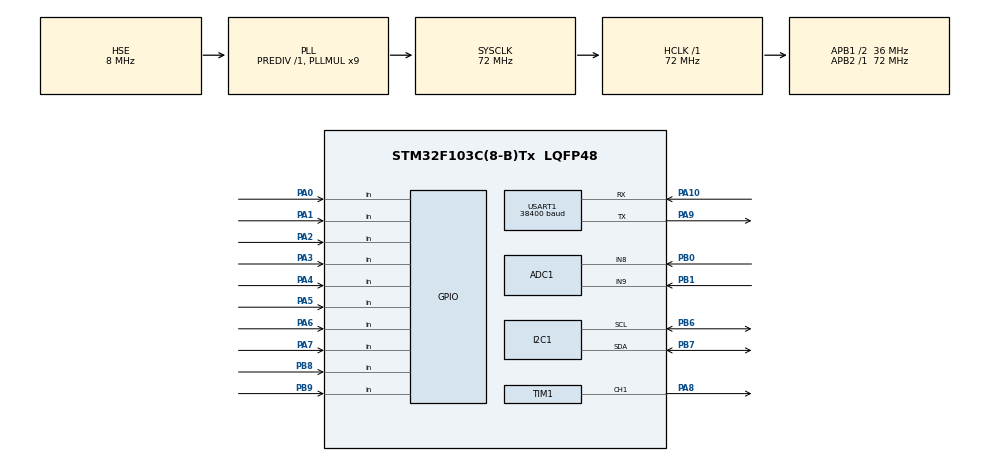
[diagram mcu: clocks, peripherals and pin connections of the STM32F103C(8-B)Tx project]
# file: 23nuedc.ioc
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ADC1.Channel-0\#ChannelRegularConversion=ADC_CHANNEL_8
ADC1.Channel-1\#ChannelRegularConversion=ADC_CHANNEL_9
ADC1.ContinuousConvMode=ENABLE
ADC1.NbrOfConversion=2
ADC1.NbrOfConversionFlag=1
ADC1.Rank-0\#ChannelRegularConversion=1
ADC1.Rank-1\#ChannelRegularConversion=2
ADC1.SamplingTime-0\#ChannelRegularConversion=ADC_SAMPLETIME_71CYCLES_5
ADC1.SamplingTime-1\#ChannelRegularConversion=ADC_SAMPLETIME_71CYCLES_5
ADC1.master=1
Dma.ADC1.0.Direction=DMA_PERIPH_TO_MEMORY
Dma.ADC1.0.Instance=DMA1_Channel1
Dma.ADC1.0.MemDataAlignment=DMA_MDATAALIGN_HALFWORD
Dma.ADC1.0.MemInc=DMA_MINC_ENABLE
Dma.ADC1.0.Mode=DMA_CIRCULAR
Dma.ADC1.0.PeriphDataAlignment=DMA_PDATAALIGN_HALFWORD
Dma.ADC1.0.PeriphInc=DMA_PINC_DISABLE
Dma.ADC1.0.Priority=DMA_PRIORITY_LOW
Dma.Request0=ADC1
Mcu.Family=STM32F1
Mcu.Name=STM32F103C(8-B)Tx
Mcu.Package=LQFP48
NVIC.DMA1_Channel1_IRQn=true\:0\:0\:false\:false\:true\:false\:true\:true
NVIC.PriorityGroup=NVIC_PRIORITYGROUP_4
NVIC.USART1_IRQn=true\:0\:0\:false\:false\:true\:true\:true\:true
PA0-WKUP.Signal=GPIO_Input
PA1.Signal=GPIO_Input
PA10.Mode=Asynchronous
PA10.Signal=USART1_RX
PA13.Mode=Serial_Wire
PA13.Signal=SYS_JTMS-SWDIO
PA14.Mode=Serial_Wire
PA14.Signal=SYS_JTCK-SWCLK
PA2.Signal=GPIO_Input
PA3.Signal=GPIO_Input
PA4.Signal=GPIO_Input
PA5.Signal=GPIO_Input
PA6.Signal=GPIO_Input
PA7.Signal=GPIO_Input
PA8.Signal=S_TIM1_CH1
PA9.Mode=Asynchronous
PA9.Signal=USART1_TX
PB0.Signal=ADCx_IN8
PB1.Signal=ADCx_IN9
PB6.Mode=I2C
PB6.Signal=I2C1_SCL
PB7.Mode=I2C
PB7.Signal=I2C1_SDA
PB8.Signal=GPIO_Input
PB9.Signal=GPIO_Input
PC14-OSC32_IN.Mode=LSE-External-Oscillator
PC14-OSC32_IN.Signal=RCC_OSC32_IN
PC15-OSC32_OUT.Mode=LSE-External-Oscillator
PC15-OSC32_OUT.Signal=RCC_OSC32_OUT
PD0-OSC_IN.Mode=HSE-External-Oscillator
PD0-OSC_IN.Signal=RCC_OSC_IN
PD1-OSC_OUT.Mode=HSE-External-Oscillator
PD1-OSC_OUT.Signal=RCC_OSC_OUT
ProjectManager.HeapSize=0x200
ProjectManager.StackSize=0x400
ProjectManager.TargetToolchain=MDK-ARM V5.32
RCC.ADCPresc=RCC_ADCPCLK2_DIV6
RCC.AHBFreq_Value=72000000
RCC.APB1CLKDivider=RCC_HCLK_DIV2
RCC.APB1Freq_Value=36000000
RCC.APB1TimFreq_Value=72000000
RCC.APB2Freq_Value=72000000
RCC.APB2TimFreq_Value=72000000
RCC.HCLKFreq_Value=72000000
RCC.PLLMUL=RCC_PLL_MUL9
RCC.PLLSourceVirtual=RCC_PLLSOURCE_HSE
RCC.SYSCLKFreq_VALUE=72000000
RCC.SYSCLKSource=RCC_SYSCLKSOURCE_PLLCLK
RCC.USBFreq_Value=72000000
SH.ADCx_IN8.0=ADC1_IN8,IN8
SH.ADCx_IN9.0=ADC1_IN9,IN9
SH.S_TIM1_CH1.0=TIM1_CH1,PWM Generation1 CH1
TIM1.Channel-PWM\ Generation1\ CH1=TIM_CHANNEL_1
TIM1.OCFastMode_PWM-PWM\ Generation1\ CH1=TIM_OCFAST_ENABLE
TIM1.OCMode_PWM-PWM\ Generation1\ CH1=TIM_OCMODE_PWM2
TIM1.Period=20-1
TIM1.Prescaler=18-1
TIM1.Pulse-PWM\ Generation1\ CH1=10
USART1.BaudRate=38400
USART1.VirtualMode=VM_ASYNC
VP_TIM1_VS_ClockSourceINT.Mode=Internal
board=custom

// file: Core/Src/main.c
/* USER CODE BEGIN Header */
/**
  ******************************************************************************
  * @file           : main.c
  * @brief          : Main program body
  ******************************************************************************
  * @attention
  *
  * Copyright (c) 2025 STMicroelectronics.
  * All rights reserved.
  *
  * This software is licensed under terms that can be found in the LICENSE file
  * in the root directory of this software component.
  * If no LICENSE file comes with this software, it is provided AS-IS.
  *
  ******************************************************************************
  */
/* USER CODE END Header */
#include "main.h"
#include "adc.h"
#include "dma.h"
#include "i2c.h"
#include "tim.h"
#include "usart.h"
#include "gpio.h"

/* USER CODE BEGIN Includes */
#include "oled.h"
#include "stdio.h" // 为了在send_length_x_as_binary_and_decimal()函数中调用sprintf()
#include "string.h" // 为了在串口发送时能使用strlen()
#include "math.h" // 为了使用fabsf()函数（求浮点数的绝对值）

/* USER CODE END Includes */

/* USER CODE BEGIN PD */

// 用于“对激励方波进行采样，然后只取高电平的部分（电压大于某个门限）做平均”
#define THRESHOLD_1 800 // 设v1高电平判定门限为 800（负载电阻较小，分压少，高电平在0.5V-2V之间，故阈值尽量压低）
#define THRESHOLD_2 300 // 设v2高电平判定门限为 300（负载电阻较小，分压少，高电平在0.5V-2V之间，故阈值尽量压低）
#define SAMPLE_BUFFER_SIZE 1000  // ADC对方波采样的缓冲区大小
// #define IO_DATA_SIZE 5000 // 接收来自FPGA的数据的缓冲区大小

/* USER CODE END PD */

/* USER CODE BEGIN PV */

// length_x：按下length按键后在IO口读出的数据。（是将PA0~PA7的电平状态合并为一个字节后的结果。是原始计数数据。）
// length_y：对length_x通过换算关系处理后所得的电缆长度。
uint8_t length_x = 0;
double length_y = 0.0;

// 按下load按键后在IO口读出的数据。供串口输出用。
uint8_t load_x = 0;

// avg_length_x：length_x（按下length按键后在IO口读出的数据）的平均值。
// avg_load_x：load_x（按下load按键后在IO口读出的数据）的平均值。
double avg_length_x = 0.0;
double avg_load_x = 0.0;

// length_x_buffer[10]：字符串形式的length_x，为了在oled屏幕上显示。
// length_y_buffer[10]：字符串形式的length_y，为了在oled屏幕上显示。
uint8_t length_x_buffer[10];
uint8_t length_y_buffer[10];

// pins[8]：用来存放8个IO电平状态（来自FPGA）的数组。
const uint16_t pins[8] =
{
    GPIO_PIN_0, GPIO_PIN_1, GPIO_PIN_2, GPIO_PIN_3,
    GPIO_PIN_4, GPIO_PIN_5, GPIO_PIN_6, GPIO_PIN_7
};

// 通过串联分压原理来计算待测负载
// GND---待测负载---B---50Ω---A---比较器---STM32
//                 ^         ^
//                 |         |
//                 v2        v1
uint16_t adc_values[2]; // 用于DMA接收ADC值，因为使用两个通道故数组大小为2

// 用于“对激励方波进行采样，然后只取高电平的部分（电压大于某个门限）做平均”
uint16_t adc_high_level_samples_1[SAMPLE_BUFFER_SIZE]; // 存储V1方波（A点，经过比较器后的激励信号）的高电平采样点
uint16_t adc_high_level_samples_2[SAMPLE_BUFFER_SIZE]; // 存储V2方波（B点，分压后）的高电平采样点
uint16_t high_sample_count_1 = 0; // V1高电平采样点计数
uint16_t high_sample_count_2 = 0; // V2高电平采样点计数
float high_level_avg_1 = 0.0f; // V1高电平采样点平均值
float high_level_avg_2 = 0.0f; // V2高电平采样点平均值

// 用于存储串口输出信息的字符串缓冲区数组
uint8_t message[50] = "";

// load：待测阻性负载的值
float load = 0.0;

/* USER CODE END PV */

void SystemClock_Config(void);
/* USER CODE BEGIN PFP */

/**
  * @brief  重写DMA传输完成中断回调函数，记录高电平方波值，记录高电平采样点数
  * @param  hadc：句柄指针，例如 &huart1
  * @retval 无
  */
void HAL_ADC_ConvCpltCallback(ADC_HandleTypeDef* hadc)
{
    // 处理 Channel 8（adc_values[0]）上的方波（A点，激励信号，V1）
    if (adc_values[0] > THRESHOLD_1)
    {
        if (high_sample_count_1 < SAMPLE_BUFFER_SIZE)
        {
            adc_high_level_samples_1[high_sample_count_1++] = adc_values[0];
        }
    }

        // 处理 Channel 9（adc_values[1]）上的方波（B点，分压后，V2）
    if (adc_values[1] > THRESHOLD_2)
    {
        if (high_sample_count_2 < SAMPLE_BUFFER_SIZE)
        {
            adc_high_level_samples_2[high_sample_count_2++] = adc_values[1];
        }
    }
}

/**
  * @brief  读取 PA0~PA7 的电平状态，合并为一个字节返回。
  * PA7 是最高有效位（MSB）,PA0 是最低有效位（LSB）。
  *
  * PA7 → bit7
  * PA6 → bit6
  * ...
  * PA0 → bit0
  *
  * 在 while 循环中调用length_x = read_8_io();
  * 则length_x即为来自FPGA的计数结果。
  * @retval uint8_t
  */
uint8_t read_8_io(void)
{
    uint8_t value = 0;
    for (int i = 0; i < 8; i++) {
        if (HAL_GPIO_ReadPin(GPIOA, pins[i]) == GPIO_PIN_SET) {
            value |= (1 << i);  // 对应位设为1
        }
    }
    return value;
}

/**
  * @brief  将给定的字节数据以二进制和十进制字符串形式通过串口发送出去
  *         该函数用于将 uint8_t 类型的 length_x 转换为直观的二进制表示和十进制数值，
  *         并通过指定的 UART 发送。
  * @param  huart：UART句柄指针，例如 &huart1
  * @param  u8data：要发送的 uint8_t 类型数据（0~255）
  * @retval 无
  */
void send_length_x_as_binary_and_decimal(UART_HandleTypeDef *huart, uint8_t u8data)
{
    uint8_t tx_buffer[30]; // 发送缓冲区大小
    int index = 0;

    // 添加二进制表示
    index += sprintf(tx_buffer + index, "Bin(2): ");
    for (int i = 7; i >= 0; i--) {
        if (u8data & (1 << i)) {
            tx_buffer[index++] = '1';
        } else {
            tx_buffer[index++] = '0';
        }
    }

    // 添加分隔符
    tx_buffer[index++] = '\r'; // 回车
    tx_buffer[index++] = '\n'; // 换行

    // 添加十进制表示
    index += sprintf(tx_buffer + index, "Dec(10): %d\r\n", u8data);

    // 每段数据发送完后空一行
    tx_buffer[index++] = '\n';

    // 发送数据
    HAL_UART_Transmit(huart, (uint8_t*)tx_buffer, index, HAL_MAX_DELAY);
}

/**
  * @brief  计算输入ADC的方波的高电平部分的平均值并写入用于串口发送的字符串
  *         如果采样到了有效的高电平（即：有超过阈值的采样点），则计算其平均值；
  *         否则输出“无高电平样本”的提示信息。
  * @param  adc_high_level_samples：指向ADC高电平样本数组的指针
  * @param  high_sample_count：高电平样本的数量
  * @param  message：用于存储输出信息的字符串缓冲区
  * @param  v_id：电压数组标识符，1 表示 adc_high_level_samples_1，
  *                              2 表示 adc_high_level_samples_2
  * @retval float类型的电压平均值
  */
float calculate_and_display_high_level_avg(uint16_t *adc_high_level_samples, uint16_t high_sample_count, uint8_t *message, int v_id)
{
    if (high_sample_count > 0)
    {
        float high_level_avg = 0.0f;
        for (uint16_t i = 0; i < high_sample_count; i++)
        {
            high_level_avg += adc_high_level_samples[i];
        }
        high_level_avg /= high_sample_count;

        // 根据 v_id 决定前缀名称
        const uint8_t *prefix = (v_id == 1) ? "V1 High Avg" : "V2 High Avg";

        // 格式化输出平均值和样本数量
        sprintf(message, "%s: %.2f (%lu samples)\n", prefix, high_level_avg, high_sample_count);
        return high_level_avg;
    }
    else
    {
        strcpy(message, "No high level samples detected.\n");
		return 0;
    }
}

/* USER CODE END PFP */

int main(void)
{

  /* MCU Configuration--------------------------------------------------------*/

  /* Reset of all peripherals, Initializes the Flash interface and the Systick. */
  HAL_Init();

  /* Configure the system clock */
  SystemClock_Config();

  /* Initialize all configured peripherals */
  MX_GPIO_Init();
  MX_DMA_Init();
  MX_I2C1_Init();
  MX_USART1_UART_Init();
  MX_TIM1_Init();
  MX_ADC1_Init();
  /* USER CODE BEGIN 2 */
  HAL_TIM_PWM_Start(&htim1,TIM_CHANNEL_1); // 开启PWM输出（1MHz，占空比50%）
  HAL_ADCEx_Calibration_Start(&hadc1); // 校准ADC

  HAL_ADC_Start_DMA(&hadc1,(uint32_t*)adc_values,sizeof(adc_values)/sizeof(uint16_t));
  // 触发ADC采样与转换，且用DMA搬运。搬运到的内存地址是adc_values数组名，
  // 搬运次数为sizeof(adc_values)/sizeof(uint16_t)=2次（因为是两个通道。也可以直接填2）。
  // 因配置了连续转换模式，只需要触发一次，故写在while(1)循环外。

  HAL_ADC_PollForConversion(&hadc1,HAL_MAX_DELAY); // 轮询检查转换是否完成，转换完成后再读取测量结果，以免读到默认值。

  OLED_Init();                           // OLED初始化
  OLED_Clear();                          // 清屏
  OLED_ShowString(0,0,"Waiting for detection",12, 0);    // 正相显示8X16字符串

//  OLED_ShowCHinese(0,4,0,1); // 反相显示汉字“独”
//  OLED_ShowCHinese(16,4,1,1);// 反相显示汉字“角”
//  OLED_ShowCHinese(32,4,2,1);// 反相显示汉字“兽”
//  OLED_ShowCHinese(0,6,0,0); // 正相显示汉字“独”
//  OLED_ShowCHinese(16,6,1,0);// 正相显示汉字“角”
//  OLED_ShowCHinese(32,6,2,0);// 正相显示汉字“兽”

//  OLED_ShowNum(48,4,6,1,16, 0);// 正相显示1位8X16数字“6”
//  OLED_ShowNum(48,7,77,2,12, 1);// 反相显示2位6X8数字“77”
//  OLED_DrawBMP(90,0,122, 4,BMP1,0);// 正相显示图片BMP1
//  OLED_DrawBMP(90,4,122, 8,BMP1,1);// 反相显示图片BMP1

//  OLED_HorizontalShift(0x26);// 全屏水平向右滚动播放

// 显示正负浮点数的代码
//  float num1=-231.24;
//  float num2=23.375;

// OLED_ShowString(0,0,"Show Decimal",12,0);
// OLED_Showdecimal(0,4,num1,3,2,12, 0);
// OLED_Showdecimal(0,6,num2,2,3,16, 1);

  /* USER CODE END 2 */

  /* Infinite loop */
  /* USER CODE BEGIN WHILE */
  while (1)
  {
    // 可能因为没延时所以加上这两句之后按下按键就会跑飞，暂不用
    // length_x = read_8_io();
    // send_length_x_as_binary_and_decimal(&huart1, length_x); // 调试中通过串口查看PA0~PA7每一位的具体情况

    /*-------------------------正式程序-------------------------*/

    /* 检查Length键是否被按下（ PA8 是否被拉低 ）*/
    if (HAL_GPIO_ReadPin(GPIOB, GPIO_PIN_8) == GPIO_PIN_RESET)
    {
        HAL_Delay(55); // 硬件消抖在电路扩展后失效了，采用软件消抖
        if (HAL_GPIO_ReadPin(GPIOB, GPIO_PIN_8) == GPIO_PIN_RESET)
        {
            HAL_UART_Transmit(&huart1, (uint8_t*)"Length\r\n", 7, HAL_MAX_DELAY);

            length_x = read_8_io();
            send_length_x_as_binary_and_decimal(&huart1, length_x); // 调试中通过串口查看PA0~PA7每一位的具体情况

            const uint16_t sample_count = 5000;
            double sum_length_x = 0.0;
            for (uint16_t i = 0; i < sample_count; i++)
            {
                sum_length_x += read_8_io();  // 累加每次的读数
            }
            avg_length_x = sum_length_x / sample_count;  // 求平均
            length_y = avg_length_x*0.1033-1.1627; // 计算得电缆长度值
            uint8_t length_y_buffer[32];
            sprintf(length_y_buffer, "Length: %.4fm", length_y);
            OLED_ShowString(0, 2, (uint8_t*)length_y_buffer, 16, 0);
        }
    }

    /* 检查Load键是否被按下（ PA9 是否被拉低 ）*/
    if (HAL_GPIO_ReadPin(GPIOB, GPIO_PIN_9) == GPIO_PIN_RESET)
    {
        HAL_Delay(55); // 硬件消抖在电路扩展后失效了，采用软件消抖
        if (HAL_GPIO_ReadPin(GPIOB, GPIO_PIN_9) == GPIO_PIN_RESET)
        {
            HAL_UART_Transmit(&huart1, (uint8_t*)"Load\r\n", 5, HAL_MAX_DELAY);

            const uint16_t sample_count = 5000;
            double sum_load_x = 0.0;
            for (uint16_t i = 0; i < sample_count; i++)
            {
                sum_load_x += read_8_io();  // 累加每次的读数
            }
            avg_load_x = sum_load_x / sample_count;  // 求平均

            // 显示 Load 平均值
            uint8_t load_y_buffer[32];

            // 比较 avg_length_x 和 avg_load_x 的差值
            double diff = fabs(avg_length_x - avg_load_x);

            high_level_avg_1 = calculate_and_display_high_level_avg(adc_high_level_samples_1, high_sample_count_1, message, 1); // V1高电平采样点平均值
                HAL_UART_Transmit(&huart1, (uint8_t*)message, strlen(message), HAL_MAX_DELAY);
                high_level_avg_2 = calculate_and_display_high_level_avg(adc_high_level_samples_2, high_sample_count_2, message, 2); // V2高电平采样点平均值
                HAL_UART_Transmit(&huart1, (uint8_t*)message, strlen(message), HAL_MAX_DELAY);

            if (high_level_avg_1 < 2500) // 若按下load按键时v1有明显的拉低（空载/接入电容时实测应为4000+），则判断负载为电阻
            {
                // 进入电阻值计算逻辑
                // 计算输入ADC的V1、V2方波的高电平部分的平均值并通过串口输出
                length_x = read_8_io();
                send_length_x_as_binary_and_decimal(&huart1, length_x); // 调试中通过串口查看PA0~PA7每一位的具体情况

                high_level_avg_1 = calculate_and_display_high_level_avg(adc_high_level_samples_1, high_sample_count_1, message, 1); // V1高电平采样点平均值
                HAL_UART_Transmit(&huart1, (uint8_t*)message, strlen(message), HAL_MAX_DELAY);
                high_level_avg_2 = calculate_and_display_high_level_avg(adc_high_level_samples_2, high_sample_count_2, message, 2); // V2高电平采样点平均值
                HAL_UART_Transmit(&huart1, (uint8_t*)message, strlen(message), HAL_MAX_DELAY);

                // 通过串联分压原理计算负载电阻
                if(fabsf(high_level_avg_1 - high_level_avg_2) < 20.0f)
                  load = 999; // 开路，负载无穷大
                else
                  load = high_level_avg_2*50.0/(high_level_avg_1-high_level_avg_2);
                  load = load*0.9005-0.5152;
                  // load = load*1.1105-1.4221;

                  // load = load*load*0.015+load*0.2777+4.8421;

                sprintf(message,"V1: %.2f V2: %.2f load: %.2f\n",high_level_avg_1,high_level_avg_2,load); // 将PB0、PB1采到的数据及算出的负载值写入数组message，用于串口发送
                // sprintf(message,"load: %.2f\n",load); // 将算出的负载值写入数组message，用于串口发送
                HAL_UART_Transmit(&huart1,(uint8_t*)message,strlen(message),HAL_MAX_DELAY);

                // 清空缓冲区供下一轮使用
                high_sample_count_1 = 0;
                high_sample_count_2 = 0;
                sprintf(load_y_buffer, "Load:R: %.4f",load);
                OLED_ShowString(0, 6, (uint8_t*)load_y_buffer, 16, 0); // 显示电阻值于OLED屏幕第6行
            }
            else // 若按下length按键和load按键时读取到的IO口数据不同（时间差不同），则判断负载为电容
            {
                /*-----------调试用-----------*/
                load_x = read_8_io();
                send_length_x_as_binary_and_decimal(&huart1, load_x); // 调试中通过串口查看PA0~PA7每一位的具体情况
                /*-----------调试用-----------*/
                length_x = read_8_io();
                // 进入电容值计算逻辑
                double cap_diff = diff; // 差值用于电容计算
                // uint8_t diff_buffer[32];
                // cap_diff = cap_diff*9.8214+25.714;
                //cap_diff = cap_diff*9.8214+25.714;
                                if(cap_diff<10)
                {
                cap_diff = -0.1673 * cap_diff * cap_diff + 10.487 * cap_diff - 22.27+37;
                }
                else{cap_diff = -0.1673 * cap_diff * cap_diff + 10.487 * cap_diff - 22.27+77;}

                sprintf(load_y_buffer, "Load:C: %.2f", cap_diff);
                OLED_ShowString(0, 6, (uint8_t*)load_y_buffer, 16, 0); // 显示差值于OLED屏幕第6行
                    high_sample_count_1 = 0;
    high_sample_count_2 = 0;
            }
        }
    }

     /*-------------------------正式程序-------------------------*/

     /*-------------------------测电阻（直流检测版）-------------------------*/
    // HAL_Delay(100);
    // if(adc_values[0]==adc_values[1])
    //   load = 999; // 开路，负载无穷大
    // else
    //   load = adc_values[1]*50/(adc_values[0]-adc_values[1]);
    // sprintf(message,"%d %d %.2f",adc_values[0],adc_values[1],load); // 将PB0、PB1采到的数据及算出的负载值写入数组message，用于串口发送
    // HAL_UART_Transmit(&huart1,(uint8_t*)message,strlen(message),HAL_MAX_DELAY);
    /*-------------------------测电阻（直流检测版）-------------------------*/

    /*-------------------------测电阻（方波平均版）-------------------------*/
    // HAL_Delay(500);  // 每 500ms 计算一次高电平平均值

    // // 计算输入ADC的V1、V2方波的高电平部分的平均值并通过串口输出
    // high_level_avg_1 = calculate_and_display_high_level_avg(adc_high_level_samples_1, high_sample_count_1, message, 1); // V1高电平采样点平均值
    // //HAL_UART_Transmit(&huart1, (uint8_t*)message, strlen(message), HAL_MAX_DELAY);
    // high_level_avg_2 = calculate_and_display_high_level_avg(adc_high_level_samples_2, high_sample_count_2, message, 2); // V2高电平采样点平均值
    // //HAL_UART_Transmit(&huart1, (uint8_t*)message, strlen(message), HAL_MAX_DELAY);

    // // 通过串联分压原理计算负载电阻
    // if(fabsf(high_level_avg_1 - high_level_avg_2) < 20.0f)
    //   load = 999; // 开路，负载无穷大
    // else
    //   load = high_level_avg_2*50.0/(high_level_avg_1-high_level_avg_2);
    // sprintf(message,"V1: %.2f V2: %.2f load: %.2f\n",high_level_avg_1,high_level_avg_2,load); // 将PB0、PB1采到的数据及算出的负载值写入数组message，用于串口发送
    // // sprintf(message,"load: %.2f\n",load); // 将算出的负载值写入数组message，用于串口发送
    // HAL_UART_Transmit(&huart1,(uint8_t*)message,strlen(message),HAL_MAX_DELAY);
    // // 清空缓冲区供下一轮使用
    // high_sample_count_1 = 0;
    // high_sample_count_2 = 0;
    /*-------------------------测电阻（方波平均版）-------------------------*/

    /*-------------------------测IO读取-------------------------*/
    // length_x = read_8_io();
    // //HAL_UART_Transmit(&huart1, &length_x, 1, HAL_MAX_DELAY); // 原生串口发送，只能正常查看16进制数，不直观，不采用
    // send_length_x_as_binary_and_decimal(&huart1, length_x);
    // sprintf((char*)length_x_buffer, "Length: %d", length_x); // 将length_x转换为字符串形式，存入数组length_x_buffer[]，为在屏幕上显示做准备
    // OLED_ShowString(0, 4, length_x_buffer, 16, 0);
    /*-------------------------测IO读取-------------------------*/

    /*-------------------------测按键、屏幕-------------------------*/
    // /* 检查Length键是否被按下（ PA8 是否被拉低 ）*/
    // if (HAL_GPIO_ReadPin(GPIOB, GPIO_PIN_8) == GPIO_PIN_RESET)
    // {
    //     HAL_UART_Transmit(&huart1, (uint8_t*)"Length\r\n", 7, HAL_MAX_DELAY);
		//     OLED_ShowString(0,4,"Length:",16, 0);    // 正相显示8X16字符串
    //     length_x = read_8_io();
    //     // HAL_UART_Transmit(&huart1, &length_x, 1, HAL_MAX_DELAY); // 会输出16进制值，无法正常读取，不使用
    // }

    // /* 检查Load键是否被按下（ PA9 是否被拉低 ）*/
    // if (HAL_GPIO_ReadPin(GPIOB, GPIO_PIN_9) == GPIO_PIN_RESET)
    // {
    //     HAL_UART_Transmit(&huart1, (uint8_t*)"Load\r\n", 5, HAL_MAX_DELAY);
		//     OLED_ShowString(0,6,"Load:",16,0);// 正相显示6X8字符串
    // }
    /*-------------------------测按键、屏幕-------------------------*/

    /* USER CODE END WHILE */

  }
}

void SystemClock_Config(void)
{
  RCC_OscInitTypeDef RCC_OscInitStruct = {0};
  RCC_ClkInitTypeDef RCC_ClkInitStruct = {0};
  RCC_PeriphCLKInitTypeDef PeriphClkInit = {0};

  /** Initializes the RCC Oscillators according to the specified parameters
  * in the RCC_OscInitTypeDef structure.
  */
  RCC_OscInitStruct.OscillatorType = RCC_OSCILLATORTYPE_HSE;
  RCC_OscInitStruct.HSEState = RCC_HSE_ON;
  RCC_OscInitStruct.HSEPredivValue = RCC_HSE_PREDIV_DIV1;
  RCC_OscInitStruct.HSIState = RCC_HSI_ON;
  RCC_OscInitStruct.PLL.PLLState = RCC_PLL_ON;
  RCC_OscInitStruct.PLL.PLLSource = RCC_PLLSOURCE_HSE;
  RCC_OscInitStruct.PLL.PLLMUL = RCC_PLL_MUL9;
  if (HAL_RCC_OscConfig(&RCC_OscInitStruct) != HAL_OK)
  {
    Error_Handler();
  }

  /** Initializes the CPU, AHB and APB buses clocks
  */
  RCC_ClkInitStruct.ClockType = RCC_CLOCKTYPE_HCLK|RCC_CLOCKTYPE_SYSCLK
                              |RCC_CLOCKTYPE_PCLK1|RCC_CLOCKTYPE_PCLK2;
  RCC_ClkInitStruct.SYSCLKSource = RCC_SYSCLKSOURCE_PLLCLK;
  RCC_ClkInitStruct.AHBCLKDivider = RCC_SYSCLK_DIV1;
  RCC_ClkInitStruct.APB1CLKDivider = RCC_HCLK_DIV2;
  RCC_ClkInitStruct.APB2CLKDivider = RCC_HCLK_DIV1;

  if (HAL_RCC_ClockConfig(&RCC_ClkInitStruct, FLASH_LATENCY_2) != HAL_OK)
  {
    Error_Handler();
  }
  PeriphClkInit.PeriphClockSelection = RCC_PERIPHCLK_ADC;
  PeriphClkInit.AdcClockSelection = RCC_ADCPCLK2_DIV6;
  if (HAL_RCCEx_PeriphCLKConfig(&PeriphClkInit) != HAL_OK)
  {
    Error_Handler();
  }
}

void Error_Handler(void)
{
  __disable_irq();
  while (1)
  {
  }
}
